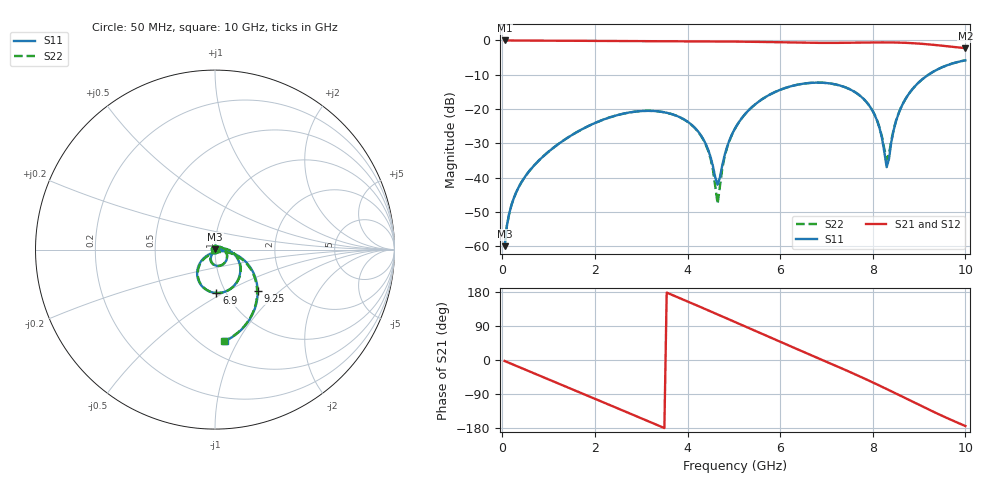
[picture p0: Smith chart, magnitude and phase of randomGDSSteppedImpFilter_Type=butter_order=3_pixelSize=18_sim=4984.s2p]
! freq	dB(S11)	phase(S11)	dB(S12)	phase(S12)
!  dB(S21)	phase(S21)	dB(S22)	phase(S22)
!S-par simulation data
#  GHz  S  DB  R 50
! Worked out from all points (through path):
!   200 points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, 50 MHz to 10 GHz, reference 50 ohm
!   highest |S21| = 0.00 dB at 50 MHz (marker M1); lowest = -2.2 dB at 10 GHz (marker M2)
!   group delay of S21, straight-line fit = 148 ps
!   lowest |S11| = -60.0 dB at 50 MHz (marker M3), VSWR 1.00, Z = 50 + j0.0993 ohm
!   |S11| at or under -10 dB: start of sweep to 9.201 GHz
!   |S22| runs from -60.0 to -5.8 dB; largest |S21 - S12| = 0
!   S11 on the Smith chart (normalised r, x): 50 MHz: 1.00, +0.00; 6.9 GHz: 0.90, -0.46; 9.25 GHz: 1.40, -0.73; 10 GHz: 0.64, -0.88
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0.05  -60.00 83.0  -0.00 -2.6  -0.00 -2.6  -60.00 82.9
0.2  -47.91 79.0  -0.02 -10.3  -0.02 -10.3  -47.91 78.9
0.45  -40.57 67.4  -0.04 -23.1  -0.04 -23.1  -40.58 67.0
1.75  -25.69 2.8  -0.11 -89.6  -0.11 -89.6  -25.70 1.8
2.5  -21.72 -35.5  -0.18 -128.0  -0.18 -128.0  -21.73 -36.7
3.4  -20.73 -81.0  -0.25 -174.4  -0.25 -174.4  -20.75 -82.7
4.3  -27.90 -120.6  -0.28 138.8  -0.28 138.8  -28.02 -125.8
4.5  -34.10 -118.9  -0.29 128.2  -0.29 128.2  -34.64 -129.8
4.65  -42.06 -59.9  -0.30 120.2  -0.30 120.2  -47.65 -59.5
4.8  -33.51 0.8  -0.31 112.3  -0.31 112.3  -33.97 11.7
5.05  -25.08 1.4  -0.34 98.9  -0.34 98.9  -25.14 5.6
5.8  -15.63 -32.7  -0.49 58.7  -0.49 58.7  -15.63 -31.2
6.7  -12.34 -78.0  -0.69 11.2  -0.69 11.2  -12.34 -77.0
6.9  -12.33 -88.1  -0.71 0.7  -0.71 0.7  -12.32 -87.1
7.85  -17.76 -135.1  -0.61 -50.6  -0.61 -50.6  -17.72 -133.3
8.15  -25.74 -142.8  -0.57 -67.8  -0.57 -67.8  -25.54 -138.5
8.3  -36.95 -89.1  -0.57 -76.6  -0.57 -76.6  -34.80 -86.5
8.35  -34.54 -35.0  -0.58 -79.5  -0.58 -79.5  -33.19 -42.7
8.45  -26.20 -11.0  -0.59 -85.4  -0.59 -85.4  -25.98 -15.7
8.65  -18.47 -13.3  -0.66 -97.4  -0.66 -97.4  -18.44 -15.3
9.25  -9.57 -44.3  -1.20 -133.1  -1.20 -133.1  -9.57 -45.0
10  -5.79 -84.1  -2.24 -174.2  -2.24 -174.2  -5.79 -84.5
